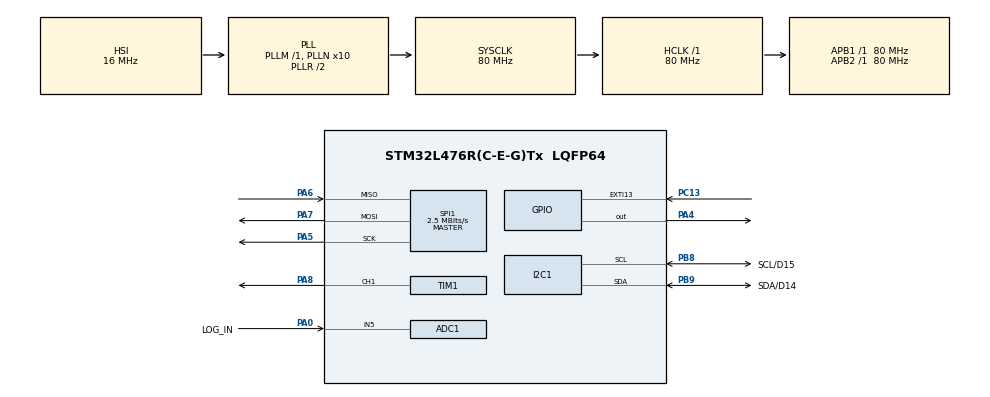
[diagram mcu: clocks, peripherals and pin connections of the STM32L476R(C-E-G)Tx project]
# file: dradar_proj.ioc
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ADC1.Channel-0\#ChannelRegularConversion=ADC_CHANNEL_5
ADC1.NbrOfConversionFlag=1
ADC1.OffsetNumber-0\#ChannelRegularConversion=ADC_OFFSET_NONE
ADC1.Rank-0\#ChannelRegularConversion=1
ADC1.SamplingTime-0\#ChannelRegularConversion=ADC_SAMPLETIME_2CYCLES_5
ADC1.master=1
I2C1.Timing=0x10D19CE4
Mcu.Family=STM32L4
Mcu.Name=STM32L476R(C-E-G)Tx
Mcu.Package=LQFP64
NVIC.EXTI15_10_IRQn=true\:0\:0\:false\:false\:true\:true\:true\:true
NVIC.PriorityGroup=NVIC_PRIORITYGROUP_4
PA0.GPIO_Label=LOG_IN
PA0.Signal=ADCx_IN5
PA13\ (JTMS-SWDIO).Signal=SYS_JTMS-SWDIO
PA14\ (JTCK-SWCLK).Signal=SYS_JTCK-SWCLK
PA4.GPIO_Speed=GPIO_SPEED_FREQ_HIGH
PA4.Signal=GPIO_Output
PA5.Mode=Full_Duplex_Master
PA5.Signal=SPI1_SCK
PA6.Mode=Full_Duplex_Master
PA6.Signal=SPI1_MISO
PA7.Mode=Full_Duplex_Master
PA7.Signal=SPI1_MOSI
PA8.Signal=S_TIM1_CH1
PB8.GPIO_Label=SCL/D15
PB8.GPIO_Pu=GPIO_PULLUP
PB8.Mode=I2C
PB8.Signal=I2C1_SCL
PB9.GPIO_Label=SDA/D14
PB9.GPIO_Pu=GPIO_PULLUP
PB9.Mode=I2C
PB9.Signal=I2C1_SDA
PC13.GPIO_ModeDefaultEXTI=GPIO_MODE_IT_FALLING
PC13.GPIO_PuPd=GPIO_NOPULL
PC13.Signal=GPXTI13
PC14-OSC32_IN\ (PC14).Mode=LSE-External-Oscillator
PC14-OSC32_IN\ (PC14).Signal=RCC_OSC32_IN
PC15-OSC32_OUT\ (PC15).Mode=LSE-External-Oscillator
PC15-OSC32_OUT\ (PC15).Signal=RCC_OSC32_OUT
PH0-OSC_IN\ (PH0).Signal=RCC_OSC_IN
PH1-OSC_OUT\ (PH1).Signal=RCC_OSC_OUT
ProjectManager.HeapSize=0x200
ProjectManager.StackSize=0x400
ProjectManager.TargetToolchain=STM32CubeIDE
RCC.ADCFreq_Value=64000000
RCC.AHBFreq_Value=80000000
RCC.APB1Freq_Value=80000000
RCC.APB1TimFreq_Value=80000000
RCC.APB2Freq_Value=80000000
RCC.APB2TimFreq_Value=80000000
RCC.CortexFreq_Value=80000000
RCC.HCLKFreq_Value=80000000
RCC.HSE_VALUE=8000000
RCC.HSI_VALUE=16000000
RCC.MSI_VALUE=4000000
RCC.PLLN=10
RCC.PLLSourceVirtual=RCC_PLLSOURCE_HSI
RCC.PREFETCH_ENABLE=1
RCC.SYSCLKFreq_VALUE=80000000
RCC.SYSCLKSource=RCC_SYSCLKSOURCE_PLLCLK
RCC.USBFreq_Value=64000000
RCC.VCOOutputFreq_Value=160000000
SH.ADCx_IN5.0=ADC1_IN5,IN5-Single-Ended
SH.S_TIM1_CH1.0=TIM1_CH1,PWM Generation1 CH1
SPI1.BaudRatePrescaler=SPI_BAUDRATEPRESCALER_32
SPI1.CalculateBaudRate=2.5 MBits/s
SPI1.DataSize=SPI_DATASIZE_8BIT
SPI1.Direction=SPI_DIRECTION_2LINES
SPI1.Mode=SPI_MODE_MASTER
SPI1.VirtualType=VM_MASTER
TIM1.Channel-PWM\ Generation1\ CH1=TIM_CHANNEL_1
TIM1.Period=999
TIM1.Prescaler=79
board=NUCLEO-L476RG

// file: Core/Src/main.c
/* USER CODE BEGIN Header */
/**
  ******************************************************************************
  * @file           : main.c
  * @brief          : Main program body
  ******************************************************************************
  * @attention
  *
  * Copyright (c) 2025 STMicroelectronics.
  * All rights reserved.
  *
  * This software is licensed under terms that can be found in the LICENSE file
  * in the root directory of this software component.
  * If no LICENSE file comes with this software, it is provided AS-IS.
  *
  ******************************************************************************
  */
/* USER CODE END Header */
#include "main.h"

/* USER CODE BEGIN Includes */
#include "cc2500.h"
#include "char_lcd.h"
#include <stdio.h>
#include <strings.h>
#include "buzzer.h"
/* USER CODE END Includes */

ADC_HandleTypeDef hadc1;

I2C_HandleTypeDef hi2c1;

SPI_HandleTypeDef hspi1;

TIM_HandleTypeDef htim1;

/* USER CODE BEGIN PV */
char logMessage[100];
float LogDetector_NoiseFloor = 0.0f;
float LogDetector_DetectionThreshold = 0.0f;

/* USER CODE END PV */

void SystemClock_Config(void);
static void MX_GPIO_Init(void);
static void MX_ADC1_Init(void);
static void MX_I2C1_Init(void);
static void MX_SPI1_Init(void);
static void MX_TIM1_Init(void);
/* USER CODE BEGIN PFP */
static void LogDetector_RecalibrateNoiseFloor(void);
/* USER CODE END PFP */

int main(void)
{

  /* MCU Configuration--------------------------------------------------------*/

  /* Reset of all peripherals, Initializes the Flash interface and the Systick. */
  HAL_Init();

  /* Configure the system clock */
  SystemClock_Config();

  /* USER CODE BEGIN SysInit */
  RecieveHandles(&hi2c1);
  /* USER CODE END SysInit */

  /* Initialize all configured peripherals */
  MX_GPIO_Init();
  MX_ADC1_Init();
  MX_I2C1_Init();
  MX_SPI1_Init();
  MX_TIM1_Init();
  /* USER CODE BEGIN 2 */

  Buzzer_Init();
  //play tone to signal turn on
  Buzzer_On(440); // Tone 1: A4
  HAL_Delay(100);
  Buzzer_Off();

  Buzzer_On(523); // Tone 2: C5
  HAL_Delay(100);
  Buzzer_Off();

  Buzzer_On(659); // Tone 3: E5
  HAL_Delay(100);
  Buzzer_Off();

  Buzzer_On(784); // Tone 4: G5
  HAL_Delay(100);
  Buzzer_Off();

  CharLCD_Clear();
  CharLCD_Init(); // Initialize the LCD
  CharLCD_Set_Cursor(0,0); // Set cursor to row 0, column 0
  CharLCD_Write_String("INITLZING...");
  CharLCD_Set_Cursor(1,0); // Set cursor to row 1, column 0
  CharLCD_Write_String("CLIBRTING...");

  //initialize the cc2500 chip
  CharLCD_Clear();
  CC2500_Init(); //includes initial calibration

  //calibrate log noise floor
  LogDetector_RecalibrateNoiseFloor();

  CharLCD_Clear();
  CharLCD_Set_Cursor(0,0); // Set cursor to row 0, column 0
  CharLCD_Write_String("5.8GHZ:  2.4GHZ:");
  CharLCD_Set_Cursor(1,0); // Set cursor to row 1, column 0
  CharLCD_Write_String("0.0V");

  /* USER CODE END 2 */

  /* Infinite loop */
  /* USER CODE BEGIN WHILE */
  while (1)
  {
	  //TODO make timer to re calibrate noise floors.
	  //Detect with log detector
	  // Start the ADC
	  HAL_ADC_Start(&hadc1);
	  HAL_ADC_PollForConversion(&hadc1, HAL_MAX_DELAY);

	  // Read ADC value and convert to voltage
	  uint16_t logInputValue = HAL_ADC_GetValue(&hadc1);
	  float voltage = (logInputValue / 4095.0f) * 3.3f;

	  // Check against calibrated threshold
	  if (voltage >= LogDetector_DetectionThreshold) {
	      sprintf(logMessage, "DT!:%.1f", voltage);
	      CharLCD_Set_Cursor(1, 0);
	      CharLCD_Write_String(logMessage);
	      //BUZZER ON TILL NEXT CYCLE
	      Buzzer_On(440); // Tone 1: A4
	      HAL_Delay(300);
	  }
	  else{
	      sprintf(logMessage, "FL:%.2f ", voltage);
	      CharLCD_Set_Cursor(1, 0);
	      CharLCD_Write_String(logMessage);
	      //BUZZER OFF TILL NEXT DETECT
	      Buzzer_Off();
	  }

	  //Sweep and detect with cc2500 chip
	  CC2500_SweepAndDetect();

	  //TODO add 915 sweep

	  //TODO add 433 sweep

    /* USER CODE END WHILE */

  }
}

void SystemClock_Config(void)
{
  RCC_OscInitTypeDef RCC_OscInitStruct = {0};
  RCC_ClkInitTypeDef RCC_ClkInitStruct = {0};

  /** Configure the main internal regulator output voltage
  */
  if (HAL_PWREx_ControlVoltageScaling(PWR_REGULATOR_VOLTAGE_SCALE1) != HAL_OK)
  {
    Error_Handler();
  }

  /** Initializes the RCC Oscillators according to the specified parameters
  * in the RCC_OscInitTypeDef structure.
  */
  RCC_OscInitStruct.OscillatorType = RCC_OSCILLATORTYPE_HSI;
  RCC_OscInitStruct.HSIState = RCC_HSI_ON;
  RCC_OscInitStruct.HSICalibrationValue = RCC_HSICALIBRATION_DEFAULT;
  RCC_OscInitStruct.PLL.PLLState = RCC_PLL_ON;
  RCC_OscInitStruct.PLL.PLLSource = RCC_PLLSOURCE_HSI;
  RCC_OscInitStruct.PLL.PLLM = 1;
  RCC_OscInitStruct.PLL.PLLN = 10;
  RCC_OscInitStruct.PLL.PLLP = RCC_PLLP_DIV7;
  RCC_OscInitStruct.PLL.PLLQ = RCC_PLLQ_DIV2;
  RCC_OscInitStruct.PLL.PLLR = RCC_PLLR_DIV2;
  if (HAL_RCC_OscConfig(&RCC_OscInitStruct) != HAL_OK)
  {
    Error_Handler();
  }

  /** Initializes the CPU, AHB and APB buses clocks
  */
  RCC_ClkInitStruct.ClockType = RCC_CLOCKTYPE_HCLK|RCC_CLOCKTYPE_SYSCLK
                              |RCC_CLOCKTYPE_PCLK1|RCC_CLOCKTYPE_PCLK2;
  RCC_ClkInitStruct.SYSCLKSource = RCC_SYSCLKSOURCE_PLLCLK;
  RCC_ClkInitStruct.AHBCLKDivider = RCC_SYSCLK_DIV1;
  RCC_ClkInitStruct.APB1CLKDivider = RCC_HCLK_DIV1;
  RCC_ClkInitStruct.APB2CLKDivider = RCC_HCLK_DIV1;

  if (HAL_RCC_ClockConfig(&RCC_ClkInitStruct, FLASH_LATENCY_4) != HAL_OK)
  {
    Error_Handler();
  }
}

static void MX_ADC1_Init(void)
{

  ADC_MultiModeTypeDef multimode = {0};
  ADC_ChannelConfTypeDef sConfig = {0};

  /** Common config
  */
  hadc1.Instance = ADC1;
  hadc1.Init.ClockPrescaler = ADC_CLOCK_ASYNC_DIV1;
  hadc1.Init.Resolution = ADC_RESOLUTION_12B;
  hadc1.Init.DataAlign = ADC_DATAALIGN_RIGHT;
  hadc1.Init.ScanConvMode = ADC_SCAN_DISABLE;
  hadc1.Init.EOCSelection = ADC_EOC_SINGLE_CONV;
  hadc1.Init.LowPowerAutoWait = DISABLE;
  hadc1.Init.ContinuousConvMode = DISABLE;
  hadc1.Init.NbrOfConversion = 1;
  hadc1.Init.DiscontinuousConvMode = DISABLE;
  hadc1.Init.ExternalTrigConv = ADC_SOFTWARE_START;
  hadc1.Init.ExternalTrigConvEdge = ADC_EXTERNALTRIGCONVEDGE_NONE;
  hadc1.Init.DMAContinuousRequests = DISABLE;
  hadc1.Init.Overrun = ADC_OVR_DATA_PRESERVED;
  hadc1.Init.OversamplingMode = DISABLE;
  if (HAL_ADC_Init(&hadc1) != HAL_OK)
  {
    Error_Handler();
  }

  /** Configure the ADC multi-mode
  */
  multimode.Mode = ADC_MODE_INDEPENDENT;
  if (HAL_ADCEx_MultiModeConfigChannel(&hadc1, &multimode) != HAL_OK)
  {
    Error_Handler();
  }

  /** Configure Regular Channel
  */
  sConfig.Channel = ADC_CHANNEL_5;
  sConfig.Rank = ADC_REGULAR_RANK_1;
  sConfig.SamplingTime = ADC_SAMPLETIME_2CYCLES_5;
  sConfig.SingleDiff = ADC_SINGLE_ENDED;
  sConfig.OffsetNumber = ADC_OFFSET_NONE;
  sConfig.Offset = 0;
  if (HAL_ADC_ConfigChannel(&hadc1, &sConfig) != HAL_OK)
  {
    Error_Handler();
  }

}

static void MX_I2C1_Init(void)
{

  hi2c1.Instance = I2C1;
  hi2c1.Init.Timing = 0x10D19CE4;
  hi2c1.Init.OwnAddress1 = 0;
  hi2c1.Init.AddressingMode = I2C_ADDRESSINGMODE_7BIT;
  hi2c1.Init.DualAddressMode = I2C_DUALADDRESS_DISABLE;
  hi2c1.Init.OwnAddress2 = 0;
  hi2c1.Init.OwnAddress2Masks = I2C_OA2_NOMASK;
  hi2c1.Init.GeneralCallMode = I2C_GENERALCALL_DISABLE;
  hi2c1.Init.NoStretchMode = I2C_NOSTRETCH_DISABLE;
  if (HAL_I2C_Init(&hi2c1) != HAL_OK)
  {
    Error_Handler();
  }

  /** Configure Analogue filter
  */
  if (HAL_I2CEx_ConfigAnalogFilter(&hi2c1, I2C_ANALOGFILTER_ENABLE) != HAL_OK)
  {
    Error_Handler();
  }

  /** Configure Digital filter
  */
  if (HAL_I2CEx_ConfigDigitalFilter(&hi2c1, 0) != HAL_OK)
  {
    Error_Handler();
  }

}

static void MX_SPI1_Init(void)
{

  /* SPI1 parameter configuration*/
  hspi1.Instance = SPI1;
  hspi1.Init.Mode = SPI_MODE_MASTER;
  hspi1.Init.Direction = SPI_DIRECTION_2LINES;
  hspi1.Init.DataSize = SPI_DATASIZE_8BIT;
  hspi1.Init.CLKPolarity = SPI_POLARITY_LOW;
  hspi1.Init.CLKPhase = SPI_PHASE_1EDGE;
  hspi1.Init.NSS = SPI_NSS_SOFT;
  hspi1.Init.BaudRatePrescaler = SPI_BAUDRATEPRESCALER_32;
  hspi1.Init.FirstBit = SPI_FIRSTBIT_MSB;
  hspi1.Init.TIMode = SPI_TIMODE_DISABLE;
  hspi1.Init.CRCCalculation = SPI_CRCCALCULATION_DISABLE;
  hspi1.Init.CRCPolynomial = 7;
  hspi1.Init.CRCLength = SPI_CRC_LENGTH_DATASIZE;
  hspi1.Init.NSSPMode = SPI_NSS_PULSE_ENABLE;
  if (HAL_SPI_Init(&hspi1) != HAL_OK)
  {
    Error_Handler();
  }

}

static void MX_TIM1_Init(void)
{

  TIM_MasterConfigTypeDef sMasterConfig = {0};
  TIM_OC_InitTypeDef sConfigOC = {0};
  TIM_BreakDeadTimeConfigTypeDef sBreakDeadTimeConfig = {0};

  htim1.Instance = TIM1;
  htim1.Init.Prescaler = 79;
  htim1.Init.CounterMode = TIM_COUNTERMODE_UP;
  htim1.Init.Period = 999;
  htim1.Init.ClockDivision = TIM_CLOCKDIVISION_DIV1;
  htim1.Init.RepetitionCounter = 0;
  htim1.Init.AutoReloadPreload = TIM_AUTORELOAD_PRELOAD_DISABLE;
  if (HAL_TIM_PWM_Init(&htim1) != HAL_OK)
  {
    Error_Handler();
  }
  sMasterConfig.MasterOutputTrigger = TIM_TRGO_RESET;
  sMasterConfig.MasterOutputTrigger2 = TIM_TRGO2_RESET;
  sMasterConfig.MasterSlaveMode = TIM_MASTERSLAVEMODE_DISABLE;
  if (HAL_TIMEx_MasterConfigSynchronization(&htim1, &sMasterConfig) != HAL_OK)
  {
    Error_Handler();
  }
  sConfigOC.OCMode = TIM_OCMODE_PWM1;
  sConfigOC.Pulse = 0;
  sConfigOC.OCPolarity = TIM_OCPOLARITY_HIGH;
  sConfigOC.OCNPolarity = TIM_OCNPOLARITY_HIGH;
  sConfigOC.OCFastMode = TIM_OCFAST_DISABLE;
  sConfigOC.OCIdleState = TIM_OCIDLESTATE_RESET;
  sConfigOC.OCNIdleState = TIM_OCNIDLESTATE_RESET;
  if (HAL_TIM_PWM_ConfigChannel(&htim1, &sConfigOC, TIM_CHANNEL_1) != HAL_OK)
  {
    Error_Handler();
  }
  sBreakDeadTimeConfig.OffStateRunMode = TIM_OSSR_DISABLE;
  sBreakDeadTimeConfig.OffStateIDLEMode = TIM_OSSI_DISABLE;
  sBreakDeadTimeConfig.LockLevel = TIM_LOCKLEVEL_OFF;
  sBreakDeadTimeConfig.DeadTime = 0;
  sBreakDeadTimeConfig.BreakState = TIM_BREAK_DISABLE;
  sBreakDeadTimeConfig.BreakPolarity = TIM_BREAKPOLARITY_HIGH;
  sBreakDeadTimeConfig.BreakFilter = 0;
  sBreakDeadTimeConfig.Break2State = TIM_BREAK2_DISABLE;
  sBreakDeadTimeConfig.Break2Polarity = TIM_BREAK2POLARITY_HIGH;
  sBreakDeadTimeConfig.Break2Filter = 0;
  sBreakDeadTimeConfig.AutomaticOutput = TIM_AUTOMATICOUTPUT_DISABLE;
  if (HAL_TIMEx_ConfigBreakDeadTime(&htim1, &sBreakDeadTimeConfig) != HAL_OK)
  {
    Error_Handler();
  }
  HAL_TIM_MspPostInit(&htim1);

}

static void MX_GPIO_Init(void)
{
  GPIO_InitTypeDef GPIO_InitStruct = {0};

  /* GPIO Ports Clock Enable */
  __HAL_RCC_GPIOC_CLK_ENABLE();
  __HAL_RCC_GPIOH_CLK_ENABLE();
  __HAL_RCC_GPIOA_CLK_ENABLE();
  __HAL_RCC_GPIOB_CLK_ENABLE();

  /*Configure GPIO pin Output Level */
  HAL_GPIO_WritePin(GPIOA, GPIO_PIN_4, GPIO_PIN_RESET);

  /*Configure GPIO pin : PC13 */
  GPIO_InitStruct.Pin = GPIO_PIN_13;
  GPIO_InitStruct.Mode = GPIO_MODE_IT_FALLING;
  GPIO_InitStruct.Pull = GPIO_NOPULL;
  HAL_GPIO_Init(GPIOC, &GPIO_InitStruct);

  /*Configure GPIO pin : PA4 */
  GPIO_InitStruct.Pin = GPIO_PIN_4;
  GPIO_InitStruct.Mode = GPIO_MODE_OUTPUT_PP;
  GPIO_InitStruct.Pull = GPIO_NOPULL;
  GPIO_InitStruct.Speed = GPIO_SPEED_FREQ_HIGH;
  HAL_GPIO_Init(GPIOA, &GPIO_InitStruct);

  /* EXTI interrupt init*/
  HAL_NVIC_SetPriority(EXTI15_10_IRQn, 0, 0);
  HAL_NVIC_EnableIRQ(EXTI15_10_IRQn);

}

/* USER CODE BEGIN 4 */
void LogDetector_RecalibrateNoiseFloor(void) {
    const int sample_count = 100;
    uint32_t sum = 0;

    CharLCD_Set_Cursor(1, 0);
    CharLCD_Write_String("LOG CAL");

    for (int i = 0; i < sample_count; i++) {
        HAL_ADC_Start(&hadc1);
        HAL_ADC_PollForConversion(&hadc1, HAL_MAX_DELAY);
        sum += HAL_ADC_GetValue(&hadc1);
        HAL_Delay(5); // Small delay between samples
    }

    float avg_adc = sum / (float)sample_count;
    LogDetector_NoiseFloor = (avg_adc / 4095.0f) * 3.3f;

    // TODO Set threshold (e.g., 0.15V above floor, tune as needed)
    LogDetector_DetectionThreshold = LogDetector_NoiseFloor + 0.07f;
}

/* USER CODE END 4 */

void Error_Handler(void)
{
  __disable_irq();
  while (1)
  {
  }
}
